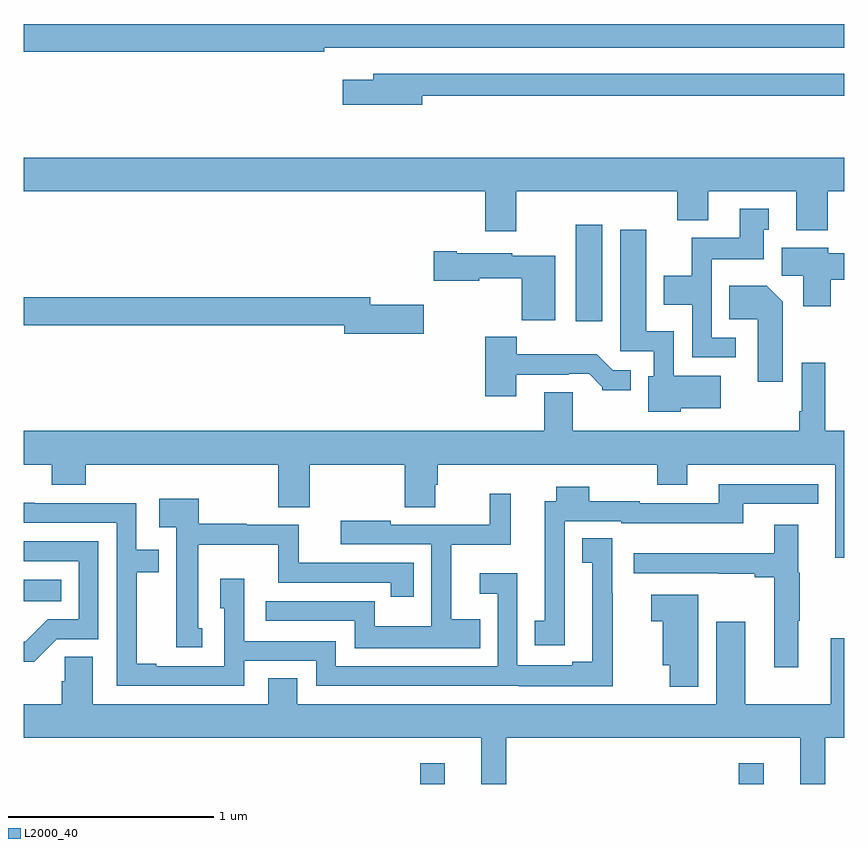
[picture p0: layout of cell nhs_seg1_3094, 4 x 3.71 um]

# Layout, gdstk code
import gdstk
lib = gdstk.Library(unit=1e-6, precision=1e-09)
def R(c, l, rs):  # rectangles x0, y0, x1, y1
    for r in rs: c.add(gdstk.rectangle(r[:2], r[2:], *l))
def P(c, l, *ps):  # polygons
    for p in ps: c.add(gdstk.Polygon(p, *l))
L2000_40 = (2000, 40)

nhs_seg1_3094 = lib.new_cell('nhs_seg1_3094')
R(nhs_seg1_3094, L2000_40, [(280.932,526.199,281.053,526.3), (282.486,526.199,282.607,526.3), (279,527.09,279.182,527.194), (281.69,528.456,281.821,528.925)])
P(nhs_seg1_3094, L2000_40, [(280.466,529.788),(283,529.788),(283,529.904),(279,529.904),(279,529.768),(280.466,529.768)],
  [(280.942,529.554),(283,529.554),(283,529.662),(280.703,529.662),(280.703,529.633),(280.554,529.633),(280.554,529.511),(280.942,529.511)],
  [(279,529.088),(281.249,529.088),(281.249,528.894),(281.401,528.894),(281.401,529.088),(282.185,529.088),(282.185,528.947),(282.337,528.947),(282.337,529.088),(282.767,529.088),(282.767,528.899),(282.92,528.899),(282.92,529.088),(283,529.088),(283,529.252),(279,529.252)],
  [(282.472,528.375),(282.354,528.375),(282.354,528.758),(282.607,528.758),(282.607,528.9),(282.631,528.9),(282.631,529.003),(282.491,529.003),(282.491,528.862),(282.256,528.862),(282.256,528.676),(282.119,528.676),(282.119,528.536),(282.258,528.536),(282.258,528.279),(282.472,528.279)],
  [(282.204,528.032),(282.397,528.032),(282.397,528.19),(282.168,528.19),(282.168,528.406),(282.034,528.406),(282.034,528.901),(281.909,528.901),(281.909,528.309),(282.072,528.309),(282.072,528.186),(282.044,528.186),(282.044,528.014),(282.204,528.014)],
  [(282.935,528.658),(283,528.658),(283,528.787),(282.922,528.787),(282.922,528.814),(282.695,528.814),(282.695,528.676),(282.8,528.676),(282.8,528.528),(282.935,528.528)],
  [(281.59,528.775),(281.382,528.775),(281.382,528.787),(281.11,528.787),(281.11,528.795),(280.998,528.795),(280.998,528.653),(281.22,528.653),(281.22,528.665),(281.428,528.665),(281.428,528.461),(281.59,528.461)],
  [(282.7,528.55),(282.622,528.628),(282.439,528.628),(282.439,528.464),(282.578,528.464),(282.578,528.159),(282.7,528.159)],
  [(280.951,528.536),(280.69,528.536),(280.69,528.572),(279,528.572),(279,528.436),(280.562,528.436),(280.562,528.394),(280.951,528.394)],
  [(281.401,528.195),(281.657,528.195),(281.657,528.198),(281.756,528.198),(281.82,528.134),(281.82,528.119),(281.959,528.119),(281.959,528.216),(281.871,528.216),(281.793,528.295),(281.404,528.295),(281.404,528.379),(281.249,528.379),(281.249,528.09),(281.401,528.09)],
  [(283,527.92),(282.908,527.92),(282.908,528.253),(282.792,528.253),(282.792,528.016),(282.78,528.016),(282.78,527.92),(281.677,527.92),(281.677,528.11),(281.537,528.11),(281.537,527.92),(279,527.92),(279,527.756),(279.137,527.756),(279.137,527.657),(279.302,527.657),(279.302,527.756),(280.24,527.756),(280.24,527.548),(280.395,527.548),(280.395,527.756),(280.858,527.756),(280.858,527.548),(281.005,527.548),(281.005,527.658),(281.018,527.658),(281.018,527.756),(282.088,527.756),(282.088,527.657),(282.235,527.657),(282.235,527.756),(282.957,527.756),(282.957,527.301),(283,527.301)],
  [(281.638,527.198),(281.637,527.198),(281.637,527.481),(281.913,527.481),(281.913,527.471),(282.508,527.471),(282.508,527.565),(282.872,527.565),(282.872,527.661),(282.389,527.661),(282.389,527.568),(282.003,527.568),(282.003,527.578),(281.757,527.578),(281.757,527.647),(281.597,527.647),(281.597,527.577),(281.54,527.577),(281.54,526.995),(281.491,526.995),(281.491,526.875),(281.638,526.875)],
  [(281.225,527.002),(281.083,527.002),(281.083,527.366),(281.374,527.366),(281.374,527.614),(281.272,527.614),(281.272,527.463),(280.789,527.463),(280.789,527.482),(280.545,527.482),(280.545,527.367),(280.986,527.367),(280.986,526.969),(280.71,526.969),(280.71,527.09),(280.607,527.09),(280.607,527.091),(280.179,527.091),(280.179,526.995),(280.614,526.995),(280.614,526.862),(281.225,526.862)],
  [(279.871,526.959),(279.85,526.959),(279.85,527.366),(280.241,527.366),(280.241,527.181),(280.788,527.181),(280.788,527.112),(280.901,527.112),(280.901,527.277),(280.34,527.277),(280.34,527.463),(280.086,527.463),(280.086,527.468),(279.853,527.468),(279.853,527.59),(279.66,527.59),(279.66,527.45),(279.744,527.45),(279.744,527.354),(279.743,527.354),(279.743,526.866),(279.871,526.866)],
  [(281.871,527.129),(281.868,527.129),(281.868,527.396),(281.722,527.396),(281.722,527.278),(281.771,527.278),(281.771,526.795),(281.675,526.795),(281.675,526.777),(281.406,526.777),(281.406,527.227),(281.223,527.227),(281.223,527.126),(281.31,527.126),(281.31,526.773),(280.521,526.773),(280.521,526.896),(280.074,526.896),(280.074,527.2),(279.959,527.2),(279.959,527.055),(279.978,527.055),(279.978,526.773),(279.646,526.773),(279.646,526.786),(279.551,526.786),(279.551,527.232),(279.658,527.232),(279.658,527.34),(279.549,527.34),(279.549,527.568),(279.053,527.568),(279.053,527.57),(279,527.57),(279,527.472),(279.453,527.472),(279.453,526.677),(280.074,526.677),(280.074,526.8),(280.425,526.8),(280.425,526.677),(281.413,526.677),(281.413,526.676),(281.871,526.676)],
  [(282.775,526.996),(282.783,526.996),(282.783,527.229),(282.775,527.229),(282.775,527.464),(282.659,527.464),(282.659,527.323),(281.973,527.323),(281.973,527.226),(282.385,527.226),(282.385,527.224),(282.563,527.224),(282.563,527.206),(282.659,527.206),(282.659,526.767),(282.775,526.767)],
  [(279.162,526.905),(279.363,526.905),(279.363,527.382),(279,527.382),(279,527.286),(279.267,527.286),(279.267,527.001),(279.116,527.001),(279.008,526.893),(279,526.893),(279,526.796),(279.052,526.796)],
  [(282.289,527.122),(282.06,527.122),(282.06,526.993),(282.116,526.993),(282.116,526.778),(282.149,526.778),(282.149,526.673),(282.289,526.673)],
  [(281.231,526.199),(281.353,526.199),(281.353,526.424),(282.785,526.424),(282.785,526.199),(282.907,526.199),(282.907,526.424),(283,526.424),(283,526.909),(282.935,526.909),(282.935,526.588),(282.517,526.588),(282.517,526.99),(282.377,526.99),(282.377,526.588),(280.333,526.588),(280.333,526.715),(280.193,526.715),(280.193,526.588),(279.337,526.588),(279.337,526.82),(279.199,526.82),(279.199,526.7),(279.185,526.7),(279.185,526.588),(279,526.588),(279,526.424),(281.231,526.424)])

lib.write_gds('nhs_seg1_3094.gds')
